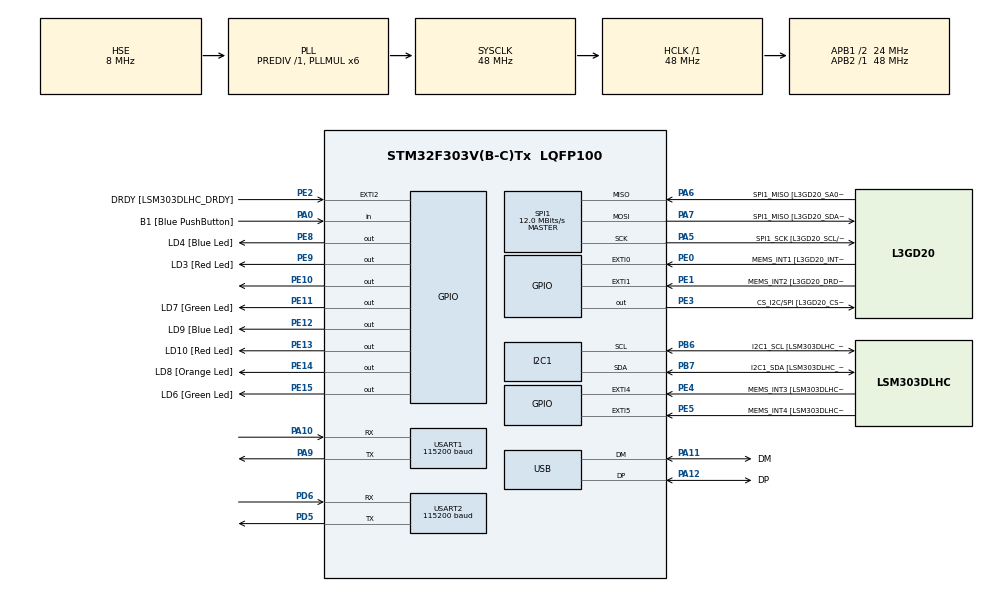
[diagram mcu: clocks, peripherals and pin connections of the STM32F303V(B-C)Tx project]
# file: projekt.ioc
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I2C1.Timing=0x00201D2B
I2C1.Timing-I2C=0x2000090E
Mcu.Family=STM32F3
Mcu.Name=STM32F303V(B-C)Tx
Mcu.Package=LQFP100
NVIC.PriorityGroup=NVIC_PRIORITYGROUP_0
PA0.GPIO_Label=B1 [Blue PushButton]
PA0.Signal=GPIO_Input
PA10.Mode=Asynchronous
PA10.Signal=USART1_RX
PA11.GPIO_Label=DM
PA11.Mode=Device
PA11.Signal=USB_DM
PA12.GPIO_Label=DP
PA12.Mode=Device
PA12.Signal=USB_DP
PA13.GPIO_Label=SWDIO
PA13.Mode=Serial_Wire
PA13.Signal=SYS_JTMS-SWDIO
PA14.GPIO_Label=SWCLK
PA14.Mode=Serial_Wire
PA14.Signal=SYS_JTCK-SWCLK
PA5.GPIO_Label=SPI1_SCK [L3GD20_SCL/SPC]
PA5.Mode=Full_Duplex_Master
PA5.Signal=SPI1_SCK
PA6.GPIO_Label=SPI1_MISO [L3GD20_SA0/SDO]
PA6.Mode=Full_Duplex_Master
PA6.Signal=SPI1_MISO
PA7.GPIO_Label=SPI1_MISO [L3GD20_SDA/SDI/SDO]
PA7.Mode=Full_Duplex_Master
PA7.Signal=SPI1_MOSI
PA9.Mode=Asynchronous
PA9.Signal=USART1_TX
PB3.GPIO_Label=SWO
PB3.Signal=SYS_JTDO-TRACESWO
PB6.GPIO_Label=I2C1_SCL [LSM303DLHC_SCL]
PB6.GPIO_Pu=GPIO_PULLUP
PB6.Mode=I2C
PB6.Signal=I2C1_SCL
PB7.GPIO_Label=I2C1_SDA [LSM303DLHC_SDA]
PB7.GPIO_Pu=GPIO_PULLUP
PB7.Mode=I2C
PB7.Signal=I2C1_SDA
PC14-OSC32_IN.GPIO_Label=OSC32_IN
PC14-OSC32_IN.Signal=RCC_OSC32_IN
PC15-OSC32_OUT.GPIO_Label=OSC32_OUT
PC15-OSC32_OUT.Signal=RCC_OSC32_OUT
PD5.Mode=Asynchronous
PD5.Signal=USART2_TX
PD6.Mode=Asynchronous
PD6.Signal=USART2_RX
PE0.GPIO_Label=MEMS_INT1 [L3GD20_INT1]
PE0.GPIO_ModeDefaultEXTI=GPIO_MODE_EVT_RISING
PE0.Signal=GPXTI0
PE1.GPIO_Label=MEMS_INT2 [L3GD20_DRDY/INT2]
PE1.GPIO_ModeDefaultEXTI=GPIO_MODE_EVT_RISING
PE1.Signal=GPXTI1
PE10.Signal=GPIO_Output
PE11.GPIO_Label=LD7 [Green Led]
PE11.Signal=GPIO_Output
PE12.GPIO_Label=LD9 [Blue Led]
PE12.Signal=GPIO_Output
PE13.GPIO_Label=LD10 [Red Led]
PE13.Signal=GPIO_Output
PE14.GPIO_Label=LD8 [Orange Led]
PE14.Signal=GPIO_Output
PE15.GPIO_Label=LD6 [Green Led]
PE15.Signal=GPIO_Output
PE2.GPIO_Label=DRDY [LSM303DLHC_DRDY]
PE2.GPIO_ModeDefaultEXTI=GPIO_MODE_EVT_RISING
PE2.Signal=GPXTI2
PE3.GPIO_Label=CS_I2C/SPI [L3GD20_CS_I2C/SPI]
PE3.Signal=GPIO_Output
PE4.GPIO_Label=MEMS_INT3 [LSM303DLHC_INT1]
PE4.GPIO_ModeDefaultEXTI=GPIO_MODE_EVT_RISING
PE4.Signal=GPXTI4
PE5.GPIO_Label=MEMS_INT4 [LSM303DLHC_INT2]
PE5.GPIO_ModeDefaultEXTI=GPIO_MODE_EVT_RISING
PE5.Signal=GPXTI5
PE8.GPIO_Label=LD4 [Blue Led]
PE8.Signal=GPIO_Output
PE9.GPIO_Label=LD3 [Red Led]
PE9.Signal=GPIO_Output
PF0-OSC_IN.GPIO_Label=OSC_IN
PF0-OSC_IN.Mode=HSE-External-Clock-Source
PF0-OSC_IN.Signal=RCC_OSC_IN
PF1-OSC_OUT.GPIO_Label=OSC_OUT
PF1-OSC_OUT.Signal=RCC_OSC_OUT
ProjectManager.HeapSize=0x200
ProjectManager.StackSize=0x400
ProjectManager.TargetToolchain=STM32CubeIDE
RCC.AHBFreq_Value=48000000
RCC.APB1CLKDivider=RCC_HCLK_DIV2
RCC.APB1Freq_Value=24000000
RCC.APB1TimFreq_Value=48000000
RCC.APB2Freq_Value=48000000
RCC.APB2TimFreq_Value=48000000
RCC.CortexFreq_Value=48000000
RCC.HCLKFreq_Value=48000000
RCC.HSE_VALUE=8000000
RCC.HSI_VALUE=8000000
RCC.LSE_VALUE=32768
RCC.PLLMUL=RCC_PLL_MUL6
RCC.SYSCLKFreq_VALUE=48000000
RCC.SYSCLKSourceVirtual=RCC_SYSCLKSOURCE_PLLCLK
RCC.USBFreq_Value=48000000
SPI1.BaudRatePrescaler=SPI_BAUDRATEPRESCALER_4
SPI1.BaudRatePrescaler-Full_Duplex_Master=SPI_BAUDRATEPRESCALER_2
SPI1.CalculateBaudRate=12.0 MBits/s
SPI1.CalculateBaudRate-Full_Duplex_Master=24.0 MBits/s
SPI1.Direction=SPI_DIRECTION_2LINES
SPI1.Mode=SPI_MODE_MASTER
SPI1.Mode-Full_Duplex_Master=SPI_MODE_MASTER
SPI1.VirtualType=VM_MASTER
USART1.BaudRate=115200
USART1.VirtualMode-Asynchronous=VM_ASYNC
USART2.BaudRate=115200
USART2.VirtualMode-Asynchronous=VM_ASYNC
board=STM32F3DISCOVERY

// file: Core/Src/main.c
/* USER CODE BEGIN Header */
/**
  ******************************************************************************
  * @file           : main.c
  * @brief          : Main program body with MQTT support
  ******************************************************************************
  */
/* USER CODE END Header */
#include "main.h"
#include <string.h>
#include <stdio.h>

/* USER CODE BEGIN PD */
#define ESP_UART huart1
#define ENABLE_USER_LOG 1
#define DISABLE_USER_LOG 0
#define ESP_RX_BUFFER_SIZE 512
#define MQTT_PACKET_SIZE 256

#if ENABLE_USER_LOG
#define USER_LOG(fmt, ...) printf("[USER] " fmt "\r\n", ##__VA_ARGS__)
#else
#define USER_LOG(fmt, ...)
#endif
/* USER CODE END PD */

/* USER CODE BEGIN PM */
#if ENABLE_USER_LOG
#define DEBUG_LOG(fmt, ...) printf(fmt "\r\n", ##__VA_ARGS__)
#else
#define DEBUG_LOG(fmt, ...)
#endif

/* USER CODE END PM */

I2C_HandleTypeDef hi2c1;

SPI_HandleTypeDef hspi1;

UART_HandleTypeDef huart1;
UART_HandleTypeDef huart2;

PCD_HandleTypeDef hpcd_USB_FS;

/* USER CODE BEGIN PV */
char esp_rx_buffer[ESP_RX_BUFFER_SIZE];
uint8_t mqtt_packet[MQTT_PACKET_SIZE];
/* USER CODE END PV */

void SystemClock_Config(void);
static void MX_GPIO_Init(void);
static void MX_I2C1_Init(void);
static void MX_SPI1_Init(void);
static void MX_USB_PCD_Init(void);
static void MX_USART1_UART_Init(void);
static void MX_USART2_UART_Init(void);
static int ESP_SendCommand(const char* command, const char* ack, uint32_t timeout);
static int ESP_SendBinary(const uint8_t* data, uint16_t len, const char* ack, uint32_t timeout);
static int MQTT_BuildConnect(uint8_t *packet, const char *clientID, const char *username, const char *password, uint16_t keepalive);
static int ESP_MQTT_Connect(const char *broker, uint16_t port, const char *clientID, const char *username, const char *password, uint16_t keepalive);
static int MQTT_BuildPublish(uint8_t *packet, const char *topic, const char *message, uint8_t qos);
static int ESP_MQTT_Publish(const char *topic, const char *message, uint8_t qos);
static int ESP_HTTP_Login(const char *url, const char *username, const char *password);

/* USER CODE BEGIN 0 */
static int ESP_SendCommand(const char* command, const char* ack, uint32_t timeout)
{
    uint8_t ch = 0;
    uint16_t idx = 0;
    uint32_t tickstart;
    int found = 0;

    memset(esp_rx_buffer, 0, sizeof(esp_rx_buffer));
    tickstart = HAL_GetTick();

    if (strlen(command) > 0)
    {
        DEBUG_LOG("Sending: %s", command);
        if (HAL_UART_Transmit(&huart1, (uint8_t*)command, strlen(command), HAL_MAX_DELAY) != HAL_OK)
        {
            DEBUG_LOG("Transmission failed");
            return 0;
        }
    }

    while((HAL_GetTick() - tickstart) < timeout && idx < sizeof(esp_rx_buffer) - 1)
    {
        if(HAL_UART_Receive(&huart1, &ch, 1, 10) == HAL_OK)
        {
            esp_rx_buffer[idx++] = ch;
            esp_rx_buffer[idx] = '\0';

            // Check for acknowledgment
            if (!found && strstr(esp_rx_buffer, ack))
            {
                DEBUG_LOG("Matched ACK: %s", ack);
                found = 1;
            }

            // Handle busy response
            if(strstr(esp_rx_buffer, "busy"))
            {
                DEBUG_LOG("ESP is busy, waiting...");
                HAL_Delay(1500);
                idx = 0;
                memset(esp_rx_buffer, 0, sizeof(esp_rx_buffer));
                tickstart = HAL_GetTick(); // Reset timeout
                continue;
            }
        }
    }

    if (found)
    {
        DEBUG_LOG("Response: %s", esp_rx_buffer);
    }
    else
    {
        DEBUG_LOG("Timeout or ACK not received");
    }

    return found;
}

static int ESP_SendBinary(const uint8_t* data, uint16_t len, const char* ack, uint32_t timeout)
{
    uint8_t ch = 0;
    uint16_t idx = 0;
    uint32_t tickstart;
    int found = 0;

    memset(esp_rx_buffer, 0, sizeof(esp_rx_buffer));
    tickstart = HAL_GetTick();

    // Send binary data
    if (HAL_UART_Transmit(&huart1, (uint8_t*)data, len, HAL_MAX_DELAY) != HAL_OK)
    {
        DEBUG_LOG("Binary transmission failed");
        return 0;
    }

    // Wait for acknowledgment
    while((HAL_GetTick() - tickstart) < timeout && idx < sizeof(esp_rx_buffer) - 1)
    {
        if(HAL_UART_Receive(&huart1, &ch, 1, 10) == HAL_OK)
        {
            esp_rx_buffer[idx++] = ch;
            esp_rx_buffer[idx] = '\0';

            // Check for binary acknowledgment (CONNACK starts with 0x20)
            if (!found && (strchr(esp_rx_buffer, ack[0]) != NULL))
            {
                DEBUG_LOG("Binary ACK received");
                found = 1;
            }

            if(strstr(esp_rx_buffer, "SEND OK"))
            {
                DEBUG_LOG("SEND OK received");
                if (found) break;
            }
        }
    }

    return found;
}

static int MQTT_BuildConnect(uint8_t *packet, const char *clientID, const char *username, const char *password, uint16_t keepalive)
{
    int len = 0;
    /* Fixed Header */
    packet[len++] = 0x10;   // CONNECT packet type
    int remLenPos = len++;  // Remaining length placeholder

    /* Variable Header */
    packet[len++] = 0x00; packet[len++] = 0x04;
    packet[len++] = 'M'; packet[len++] = 'Q'; packet[len++] = 'T'; packet[len++] = 'T';
    packet[len++] = 0x04;   // Protocol Level = 4 (MQTT 3.1.1)

    uint8_t connectFlags = 0x02; // Clean Session
    if (username) connectFlags |= 0x80;
    if (password) connectFlags |= 0x40;
    packet[len++] = connectFlags;

    // Keep Alive
    packet[len++] = (keepalive >> 8) & 0xFF;
    packet[len++] = (keepalive & 0xFF);

    /* Payload */
    // Client ID
    uint16_t cid_len = strlen(clientID);
    packet[len++] = cid_len >> 8;
    packet[len++] = cid_len & 0xFF;
    memcpy(&packet[len], clientID, cid_len); len += cid_len;

    // Username
    if (username) {
        uint16_t ulen = strlen(username);
        packet[len++] = ulen >> 8;
        packet[len++] = ulen & 0xFF;
        memcpy(&packet[len], username, ulen); len += ulen;
    }

    // Password
    if (password) {
        uint16_t plen = strlen(password);
        packet[len++] = plen >> 8;
        packet[len++] = plen & 0xFF;
        memcpy(&packet[len], password, plen); len += plen;
    }

    // Remaining length from Fixed Header
    packet[remLenPos] = len - 2;  // remove first 2 bytes of Fixed Header
    return len;
}

static int ESP_MQTT_Connect(const char *broker, uint16_t port, const char *clientID,
                                       const char *username, const char *password, uint16_t keepalive)
{
    char cmd[128];
    int res;
    int len;

    /****** Step 1: TCP connect ******/
    snprintf(cmd, sizeof(cmd), "AT+CIPSTART=\"TCP\",\"%s\",%d\r\n", broker, port);
    res = ESP_SendCommand(cmd, "CONNECT", 5000);
    if (!res){
        DEBUG_LOG("CIPSTART Failed..");
        return 0;
    }

    HAL_Delay(500);

    /****** Step 2: Build MQTT CONNECT packet ******/
    len = MQTT_BuildConnect(mqtt_packet, clientID, username, password, keepalive);

    /****** Step 3: Tell ESP how many bytes to send ******/
    snprintf(cmd, sizeof(cmd), "AT+CIPSEND=%d\r\n", len);
    res = ESP_SendCommand(cmd, ">", 2000);
    if (!res){
        DEBUG_LOG("CIPSEND Failed..");
        return 0;
    }

    /****** Step 4: Send packet and wait for CONNACK ******/
    res = ESP_SendBinary(mqtt_packet, len, "\x20", 5000);
    if (!res){
        DEBUG_LOG("Send Connect Command Failed..");
        USER_LOG("MQTT CONNACK failed.");
        return 0;
    }

    USER_LOG("MQTT CONNACK received, broker accepted connection.");
    return 1;
}

static int MQTT_BuildPublish(uint8_t *packet, const char *topic, const char *message, uint8_t qos)
{
    int len = 0;

    /* Fixed Header */
    packet[len++] = 0x30 | (qos << 1); // PUBLISH, QoS
    int remLenPos = len++;  // will be calculated later

    /* Variable Header */
    // Topic
    uint16_t tlen = strlen(topic);
    packet[len++] = tlen >> 8;  // store topic len
    packet[len++] = tlen & 0xFF;  // store topic len
    memcpy(&packet[len], topic, tlen); len += tlen;  // store topic

    /* Payload */
    // Message
    uint16_t mlen = strlen(message);
    memcpy(&packet[len], message, mlen); len += mlen;  // store message

    // Remaining length
    packet[remLenPos] = len - 2;  // remove first 2 bytes of Fixed Header
    return len;
}

static int ESP_MQTT_Publish(const char *topic, const char *message, uint8_t qos)
{
    char cmd[128];
    int res;
    int len;

    /****** Step 1: Build MQTT PUBLISH packet ******/
    len = MQTT_BuildPublish(mqtt_packet, topic, message, qos);

    /****** Step 2: Tell ESP how many bytes to send  ******/
    snprintf(cmd, sizeof(cmd), "AT+CIPSEND=%d\r\n", len);
    res = ESP_SendCommand(cmd, ">", 2000);
    if (!res){
        DEBUG_LOG("CIPSEND Failed..");
        return 0;
    }

    /****** Step 3: Send packet and wait for ACK ******/
    res = ESP_SendBinary(mqtt_packet, len, "SEND OK", 5000);
    if (!res){
        DEBUG_LOG("Publish Command Failed..");
        return 0;
    }

    USER_LOG("Message published successfully to topic: %s", topic);
    return 1;
}

int HTTP_ConfigureUrl(const char *url) {
    char at_cmd[64];
    uint16_t url_len = strlen(url);
    int res;

    // Step 1: Send the length and wait for the '>' prompt
    snprintf(at_cmd, sizeof(at_cmd), "AT+HTTPURLCFG=%d\r\n", url_len);
    res = ESP_SendCommand(at_cmd, ">", 2000);
    if (!res) {
        DEBUG_LOG("URL length config Failed (no prompt)");
        return 0;
    }

    // Step 2: Send the actual URL data (no \r\n at the end of the raw data)
    if (HAL_UART_Transmit(&huart1, (uint8_t*)url, url_len, HAL_MAX_DELAY) != HAL_OK) {
        DEBUG_LOG("URL transmit Failed");
        return 0;
    }

    // Step 3: Wait for "OK" (Note: some firmware versions return "SET OK", some just "OK")
    res = ESP_SendCommand("", "OK", 3000);
    if (!res) {
        DEBUG_LOG("URL data confirmation Failed");
        return 0;
    }

    USER_LOG("URL Configured Successfully!");
    return 1;
}

static int ESP_MQTT_Connect_TLS(const char *broker, uint16_t port,
                                 const char *clientID,
                                 const char *username,
                                 const char *password)
{
    char cmd[256];
    int res;

    USER_LOG("=== Starting MQTT TLS Connection ===");

    // ONLY STEP 1: Configure everything in one command
    USER_LOG("Configuring MQTT...");
    snprintf(cmd, sizeof(cmd),
             "AT+MQTTUSERCFG=0,2,\"%s\",\"%s\",\"%s\",0,0,\"\"\r\n",
             clientID, username, password);
    res = ESP_SendCommand(cmd, "OK", 3000);
    if (!res) {
        USER_LOG("MQTTUSERCFG Failed!");
        return 0;
    }
    USER_LOG("Configuration OK");
    HAL_Delay(200);

    USER_LOG("Connecting to broker...");
    snprintf(cmd, sizeof(cmd),
             "AT+MQTTCONN=0,\"%s\",%d,1\r\n",
             broker, port);
    res = ESP_SendCommand(cmd, "OK", 15000);
    if (!res) {
        USER_LOG("MQTTCONN Failed!");
        return 0;
    }
    HAL_GPIO_WritePin(GPIOE, LD6_Pin, GPIO_PIN_SET);

    USER_LOG("MQTT TLS Connected!");
    return 1;
}

static int ESP_MQTT_Publish_AT(const char *topic, const char *message, uint8_t qos) {
	char cmd[256];
	USER_LOG("Publishing to: %s", topic);
	snprintf(cmd, sizeof(cmd), "AT+MQTTPUB=0,\"%s\",\"%s\",%d,0\r\n", topic, message, qos);
	if (!ESP_SendCommand(cmd, "OK", 5000)) {
		USER_LOG("Publish failed!");
		return 0;
	}
	USER_LOG("Published successfully!");
	return 1;
}

/* USER CODE END 0 */

int main(void)
{

  /* MCU Configuration--------------------------------------------------------*/

  /* Reset of all peripherals, Initializes the Flash interface and the Systick. */
  HAL_Init();

  /* Configure the system clock */
  SystemClock_Config();

  /* Initialize all configured peripherals */
  MX_GPIO_Init();
  MX_I2C1_Init();
  MX_SPI1_Init();
  MX_USB_PCD_Init();
  MX_USART1_UART_Init();
  MX_USART2_UART_Init();
  /* USER CODE BEGIN 2 */
  HAL_Delay(1000); // Wait for ESP to be ready
  ESP_SendCommand("ATE0\r\n", "OK", 2000);
  ESP_SendCommand("AT+MQTTCLEAN=0\r\n", "OK", 1000);
  HAL_Delay(500);

  /* USER CODE END 2 */

  /* Infinite loop */
  while (1)
    {
        /* USER CODE BEGIN 3 */

	  	// in this code i prepared MQTT over TLS, this is secure, we have username and password, i also have functions for MQTT over tcp - less safe
        if (ESP_SendCommand("AT\r\n", "OK", 2000))
        {
            HAL_GPIO_WritePin(GPIOE, GPIO_PIN_10, GPIO_PIN_SET);

            // Connect to WiFi
            if (ESP_SendCommand("AT+CWJAP=\"username\",\"password\"\r\n", "OK", 15000))
            {
                // WiFi connected successfully
                HAL_GPIO_WritePin(GPIOE, GPIO_PIN_14, GPIO_PIN_SET);
                DEBUG_LOG("WiFi connected successfully!");

                if(ESP_MQTT_Connect_TLS("9f03cca8588b48b59bb6aad74976ac95.s1.eu.hivemq.cloud",
                                        8883,
                                        "masshealth_sensornum", // change this with massheslth_clientid
                                        "username", // enter username for mqtt connection
                                        "password")) // enter password for mqtt connection, if u have this character " in password use \\\"
                {
                    //HAL_GPIO_WritePin(GPIOE, LD6_Pin, GPIO_PIN_SET);
                }
                if(ESP_MQTT_Publish_AT("sensor/test", "bobi", 0)){
                	USER_LOG("Published message to topic 'esp'");
                }

            }
            else
            {
                // WiFi connection failed
                HAL_GPIO_WritePin(GPIOE, GPIO_PIN_14, GPIO_PIN_RESET);
                DEBUG_LOG("WiFi connection failed!");
            }
        }
        else
        {
            HAL_GPIO_WritePin(GPIOE, GPIO_PIN_10, GPIO_PIN_RESET);
            DEBUG_LOG("ESP not responding");
        }

        HAL_Delay(5000);
    }

    /* USER CODE END 3 */
  }

void SystemClock_Config(void)
{
  RCC_OscInitTypeDef RCC_OscInitStruct = {0};
  RCC_ClkInitTypeDef RCC_ClkInitStruct = {0};
  RCC_PeriphCLKInitTypeDef PeriphClkInit = {0};

  /** Initializes the RCC Oscillators according to the specified parameters
  * in the RCC_OscInitTypeDef structure.
  */
  RCC_OscInitStruct.OscillatorType = RCC_OSCILLATORTYPE_HSI|RCC_OSCILLATORTYPE_HSE;
  RCC_OscInitStruct.HSEState = RCC_HSE_BYPASS;
  RCC_OscInitStruct.HSEPredivValue = RCC_HSE_PREDIV_DIV1;
  RCC_OscInitStruct.HSIState = RCC_HSI_ON;
  RCC_OscInitStruct.HSICalibrationValue = RCC_HSICALIBRATION_DEFAULT;
  RCC_OscInitStruct.PLL.PLLState = RCC_PLL_ON;
  RCC_OscInitStruct.PLL.PLLSource = RCC_PLLSOURCE_HSE;
  RCC_OscInitStruct.PLL.PLLMUL = RCC_PLL_MUL6;
  if (HAL_RCC_OscConfig(&RCC_OscInitStruct) != HAL_OK)
  {
    Error_Handler();
  }

  /** Initializes the CPU, AHB and APB buses clocks
  */
  RCC_ClkInitStruct.ClockType = RCC_CLOCKTYPE_HCLK|RCC_CLOCKTYPE_SYSCLK
                              |RCC_CLOCKTYPE_PCLK1|RCC_CLOCKTYPE_PCLK2;
  RCC_ClkInitStruct.SYSCLKSource = RCC_SYSCLKSOURCE_PLLCLK;
  RCC_ClkInitStruct.AHBCLKDivider = RCC_SYSCLK_DIV1;
  RCC_ClkInitStruct.APB1CLKDivider = RCC_HCLK_DIV2;
  RCC_ClkInitStruct.APB2CLKDivider = RCC_HCLK_DIV1;

  if (HAL_RCC_ClockConfig(&RCC_ClkInitStruct, FLASH_LATENCY_1) != HAL_OK)
  {
    Error_Handler();
  }
  PeriphClkInit.PeriphClockSelection = RCC_PERIPHCLK_USB|RCC_PERIPHCLK_USART1
                              |RCC_PERIPHCLK_USART2|RCC_PERIPHCLK_I2C1;
  PeriphClkInit.Usart1ClockSelection = RCC_USART1CLKSOURCE_PCLK2;
  PeriphClkInit.Usart2ClockSelection = RCC_USART2CLKSOURCE_PCLK1;
  PeriphClkInit.I2c1ClockSelection = RCC_I2C1CLKSOURCE_HSI;
  PeriphClkInit.USBClockSelection = RCC_USBCLKSOURCE_PLL;
  if (HAL_RCCEx_PeriphCLKConfig(&PeriphClkInit) != HAL_OK)
  {
    Error_Handler();
  }
}

static void MX_I2C1_Init(void)
{

  hi2c1.Instance = I2C1;
  hi2c1.Init.Timing = 0x00201D2B;
  hi2c1.Init.OwnAddress1 = 0;
  hi2c1.Init.AddressingMode = I2C_ADDRESSINGMODE_7BIT;
  hi2c1.Init.DualAddressMode = I2C_DUALADDRESS_DISABLE;
  hi2c1.Init.OwnAddress2 = 0;
  hi2c1.Init.OwnAddress2Masks = I2C_OA2_NOMASK;
  hi2c1.Init.GeneralCallMode = I2C_GENERALCALL_DISABLE;
  hi2c1.Init.NoStretchMode = I2C_NOSTRETCH_DISABLE;
  if (HAL_I2C_Init(&hi2c1) != HAL_OK)
  {
    Error_Handler();
  }

  /** Configure Analogue filter
  */
  if (HAL_I2CEx_ConfigAnalogFilter(&hi2c1, I2C_ANALOGFILTER_ENABLE) != HAL_OK)
  {
    Error_Handler();
  }

  /** Configure Digital filter
  */
  if (HAL_I2CEx_ConfigDigitalFilter(&hi2c1, 0) != HAL_OK)
  {
    Error_Handler();
  }

}

static void MX_SPI1_Init(void)
{

  /* SPI1 parameter configuration*/
  hspi1.Instance = SPI1;
  hspi1.Init.Mode = SPI_MODE_MASTER;
  hspi1.Init.Direction = SPI_DIRECTION_2LINES;
  hspi1.Init.DataSize = SPI_DATASIZE_4BIT;
  hspi1.Init.CLKPolarity = SPI_POLARITY_LOW;
  hspi1.Init.CLKPhase = SPI_PHASE_1EDGE;
  hspi1.Init.NSS = SPI_NSS_SOFT;
  hspi1.Init.BaudRatePrescaler = SPI_BAUDRATEPRESCALER_4;
  hspi1.Init.FirstBit = SPI_FIRSTBIT_MSB;
  hspi1.Init.TIMode = SPI_TIMODE_DISABLE;
  hspi1.Init.CRCCalculation = SPI_CRCCALCULATION_DISABLE;
  hspi1.Init.CRCPolynomial = 7;
  hspi1.Init.CRCLength = SPI_CRC_LENGTH_DATASIZE;
  hspi1.Init.NSSPMode = SPI_NSS_PULSE_ENABLE;
  if (HAL_SPI_Init(&hspi1) != HAL_OK)
  {
    Error_Handler();
  }

}

static void MX_USART1_UART_Init(void)
{

  huart1.Instance = USART1;
  huart1.Init.BaudRate = 115200;
  huart1.Init.WordLength = UART_WORDLENGTH_8B;
  huart1.Init.StopBits = UART_STOPBITS_1;
  huart1.Init.Parity = UART_PARITY_NONE;
  huart1.Init.Mode = UART_MODE_TX_RX;
  huart1.Init.HwFlowCtl = UART_HWCONTROL_NONE;
  huart1.Init.OverSampling = UART_OVERSAMPLING_16;
  huart1.Init.OneBitSampling = UART_ONE_BIT_SAMPLE_DISABLE;
  huart1.AdvancedInit.AdvFeatureInit = UART_ADVFEATURE_NO_INIT;
  if (HAL_UART_Init(&huart1) != HAL_OK)
  {
    Error_Handler();
  }

}

static void MX_USART2_UART_Init(void)
{

  huart2.Instance = USART2;
  huart2.Init.BaudRate = 115200;
  huart2.Init.WordLength = UART_WORDLENGTH_8B;
  huart2.Init.StopBits = UART_STOPBITS_1;
  huart2.Init.Parity = UART_PARITY_NONE;
  huart2.Init.Mode = UART_MODE_TX_RX;
  huart2.Init.HwFlowCtl = UART_HWCONTROL_NONE;
  huart2.Init.OverSampling = UART_OVERSAMPLING_16;
  huart2.Init.OneBitSampling = UART_ONE_BIT_SAMPLE_DISABLE;
  huart2.AdvancedInit.AdvFeatureInit = UART_ADVFEATURE_NO_INIT;
  if (HAL_UART_Init(&huart2) != HAL_OK)
  {
    Error_Handler();
  }

}

static void MX_USB_PCD_Init(void)
{

  hpcd_USB_FS.Instance = USB;
  hpcd_USB_FS.Init.dev_endpoints = 8;
  hpcd_USB_FS.Init.speed = PCD_SPEED_FULL;
  hpcd_USB_FS.Init.phy_itface = PCD_PHY_EMBEDDED;
  hpcd_USB_FS.Init.low_power_enable = DISABLE;
  hpcd_USB_FS.Init.battery_charging_enable = DISABLE;
  if (HAL_PCD_Init(&hpcd_USB_FS) != HAL_OK)
  {
    Error_Handler();
  }

}

static void MX_GPIO_Init(void)
{
  GPIO_InitTypeDef GPIO_InitStruct = {0};

  /* GPIO Ports Clock Enable */
  __HAL_RCC_GPIOE_CLK_ENABLE();
  __HAL_RCC_GPIOC_CLK_ENABLE();
  __HAL_RCC_GPIOF_CLK_ENABLE();
  __HAL_RCC_GPIOA_CLK_ENABLE();
  __HAL_RCC_GPIOD_CLK_ENABLE();
  __HAL_RCC_GPIOB_CLK_ENABLE();

  /*Configure GPIO pin Output Level */
  HAL_GPIO_WritePin(GPIOE, CS_I2C_SPI_Pin|LD4_Pin|LD3_Pin|GPIO_PIN_10|GPIO_PIN_14|GPIO_PIN_12
                          |LD7_Pin|LD9_Pin|LD10_Pin|LD8_Pin
                          |LD6_Pin, GPIO_PIN_RESET);

  /*Configure GPIO pins : DRDY_Pin MEMS_INT3_Pin MEMS_INT4_Pin MEMS_INT1_Pin
                           MEMS_INT2_Pin */
  GPIO_InitStruct.Pin = DRDY_Pin|MEMS_INT3_Pin|MEMS_INT4_Pin|MEMS_INT1_Pin
                          |MEMS_INT2_Pin;
  GPIO_InitStruct.Mode = GPIO_MODE_EVT_RISING;
  GPIO_InitStruct.Pull = GPIO_NOPULL;
  HAL_GPIO_Init(GPIOE, &GPIO_InitStruct);

  /*Configure GPIO pins : CS_I2C_SPI_Pin LD4_Pin LD3_Pin PE10
                           LD7_Pin LD9_Pin LD10_Pin LD8_Pin
                           LD6_Pin */
  GPIO_InitStruct.Pin = CS_I2C_SPI_Pin|LD4_Pin|LD3_Pin|GPIO_PIN_10|GPIO_PIN_14|GPIO_PIN_12
                          |LD7_Pin|LD9_Pin|LD10_Pin|LD8_Pin
                          |LD6_Pin;
  GPIO_InitStruct.Mode = GPIO_MODE_OUTPUT_PP;
  GPIO_InitStruct.Pull = GPIO_NOPULL;
  GPIO_InitStruct.Speed = GPIO_SPEED_FREQ_LOW;
  HAL_GPIO_Init(GPIOE, &GPIO_InitStruct);

  /*Configure GPIO pin : B1_Pin */
  GPIO_InitStruct.Pin = B1_Pin;
  GPIO_InitStruct.Mode = GPIO_MODE_INPUT;
  GPIO_InitStruct.Pull = GPIO_NOPULL;
  HAL_GPIO_Init(B1_GPIO_Port, &GPIO_InitStruct);

}

void Error_Handler(void)
{
  __disable_irq();
  while (1)
  {
  }
}
